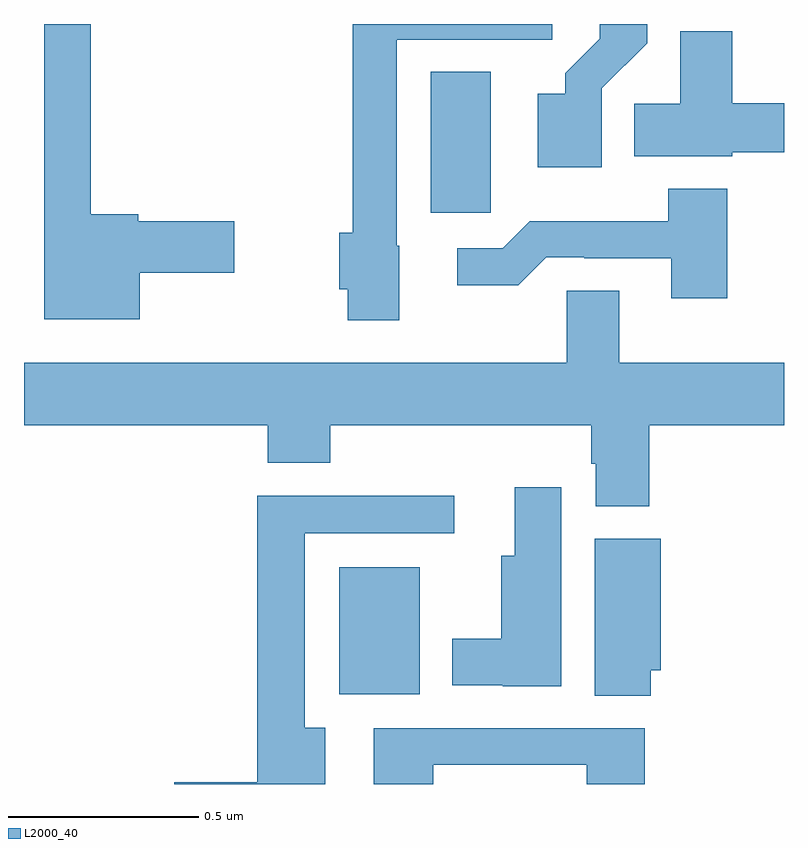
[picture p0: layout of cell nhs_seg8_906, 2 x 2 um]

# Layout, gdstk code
import gdstk
lib = gdstk.Library(unit=1e-6, precision=1e-09)
def R(c, l, rs):  # rectangles x0, y0, x1, y1
    for r in rs: c.add(gdstk.rectangle(r[:2], r[2:], *l))
def P(c, l, *ps):  # polygons
    for p in ps: c.add(gdstk.Polygon(p, *l))
L2000_40 = (2000, 40)

nhs_seg8_906 = lib.new_cell('nhs_seg8_906')
R(nhs_seg8_906, L2000_40, [(123.83,1105.136,124.042,1105.471), (124.07,1106.403,124.228,1106.774)])
P(nhs_seg8_906, L2000_40, [(124.521,1106.731),(124.64,1106.85),(124.64,1106.9),(124.515,1106.9),(124.515,1106.861),(124.424,1106.771),(124.424,1106.716),(124.352,1106.716),(124.352,1106.523),(124.521,1106.523)],
  [(123.988,1106.316),(123.981,1106.316),(123.981,1106.859),(124.39,1106.859),(124.39,1106.9),(123.865,1106.9),(123.865,1106.351),(123.83,1106.351),(123.83,1106.202),(123.852,1106.202),(123.852,1106.12),(123.988,1106.12)],
  [(123.304,1106.246),(123.553,1106.246),(123.553,1106.381),(123.3,1106.381),(123.3,1106.399),(123.175,1106.399),(123.175,1106.9),(123.053,1106.9),(123.053,1106.123),(123.304,1106.123)],
  [(124.864,1106.563),(125,1106.563),(125,1106.692),(124.864,1106.692),(124.864,1106.881),(124.727,1106.881),(124.727,1106.69),(124.606,1106.69),(124.606,1106.552),(124.864,1106.552)],
  [(124.851,1106.467),(124.696,1106.467),(124.696,1106.381),(124.331,1106.381),(124.26,1106.31),(124.14,1106.31),(124.14,1106.213),(124.301,1106.213),(124.374,1106.286),(124.474,1106.286),(124.474,1106.283),(124.703,1106.283),(124.703,1106.178),(124.851,1106.178)],
  [(124.646,1105.844),(125,1105.844),(125,1106.008),(124.567,1106.008),(124.567,1106.198),(124.428,1106.198),(124.428,1106.008),(123,1106.008),(123,1105.844),(123.641,1105.844),(123.641,1105.745),(123.806,1105.745),(123.806,1105.844),(124.493,1105.844),(124.493,1105.743),(124.505,1105.743),(124.505,1105.631),(124.646,1105.631)],
  [(124.414,1105.681),(124.292,1105.681),(124.292,1105.501),(124.256,1105.501),(124.256,1105.282),(124.127,1105.282),(124.127,1105.16),(124.26,1105.16),(124.26,1105.157),(124.414,1105.157)],
  [(123.793,1105.048),(123.739,1105.048),(123.739,1105.56),(124.132,1105.56),(124.132,1105.658),(123.614,1105.658),(123.614,1104.905),(123.396,1104.905),(123.396,1104.9),(123.793,1104.9)],
  [(124.649,1105.199),(124.675,1105.199),(124.675,1105.546),(124.502,1105.546),(124.502,1105.132),(124.649,1105.132)],
  [(124.077,1104.951),(124.481,1104.951),(124.481,1104.9),(124.634,1104.9),(124.634,1105.047),(123.921,1105.047),(123.921,1104.9),(124.077,1104.9)])

lib.write_gds('nhs_seg8_906.gds')
